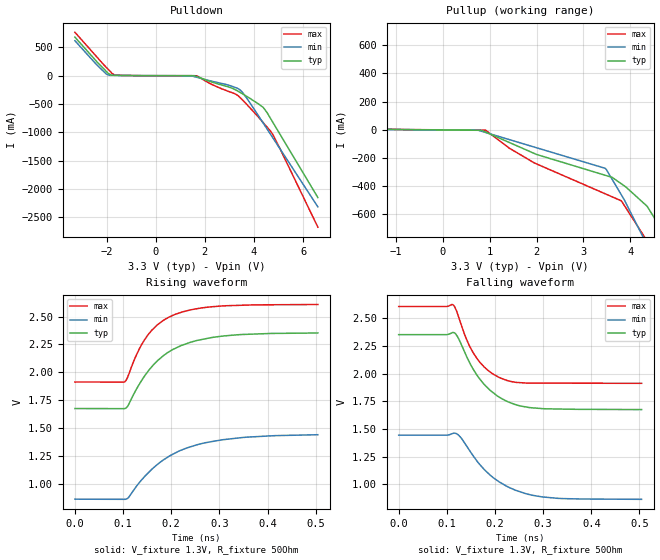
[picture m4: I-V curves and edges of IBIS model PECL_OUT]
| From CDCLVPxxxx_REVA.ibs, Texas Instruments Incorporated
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|   LVPECL Output Model   |
[Model]   PECL_OUT
Model_type   Output_ECL
| Signals   OUTP0, OUTN0, OUTP1, OUTN1
| variable   typ   min   max
C_comp   0.196pF   0.137pF   0.273pF
Cref = 0pF   |load capacitance for timing spec
Rref = 50   |50 to VCC-2
[Model Spec]
Vmeas   1.823V   0.820V   2.450V
| Vmeas is the expected cross point for each differential signal pair.
Vref   1.980V   0.995V   2.340V
| Junction Temperature (Ambient temp is 25C typ, 85C min, -40C max)
[Temperature Range]   40C   100C   -40C
[Voltage range]   3.3V   2.375V   3.6V
[Pulldown reference]   3.3V   2.375V   3.6V
[GND Clamp reference]   0V   0V   0V
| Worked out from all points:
|   falling waveform, V_fixture 1.3V, R_fixture 50Ohm: 20-80 % time 66.5ps typ, 81.5ps min, 51.9ps max; typ from 2.35 V to 1.68 V
|   rising waveform, V_fixture 1.3V, R_fixture 50Ohm: 20-80 % time 86.4ps typ, 107ps min, 67.1ps max; typ from 1.68 V to 2.35 V
[Pulldown]
|   Voltage   I(typ)   I(min)   I(max)
-3.29V    680.5mA    617.4mA    765.9mA
-2.014V   75.57mA    30.01mA    146.8mA
-1.797V   9.042mA    5.481mA    49.55mA
-1.665V   7.439mA    4.598mA    10.61mA
1.396V    -56.45uA   -1.547mA   -63.3uA
1.669V    -14.22mA   -27.83mA   -3.761mA
2.315V    -116.1mA   -100.9mA   -161.1mA
3.345V    -273.3mA   -227.3mA   -352.4mA
3.634V    -346.9mA   -354.3mA   -474.5mA
4.379V    -561.9mA   -839.1mA   -831.5mA
4.775V    -828.4mA   -1.103A    -1.045A
6.6V      -2.153A    -2.317A    -2.676A
[Pullup]
|   Voltage   I(typ)   I(min)   I(max)
-3.3V     685.3mA    622.3mA    772.9mA
-2.1V     109.2mA    60.42mA    185.3mA
-1.86V    18.27mA    5.885mA    74.55mA
-1.685V   6.169mA    4.178mA    13.24mA
908.6mV   -15.95mA   -19.03mA   -3.192mA
1.416V    -89.96mA   -69.53mA   -129.9mA
1.954V    -168.5mA   -123.1mA   -235.7mA
3.464V    -322.9mA   -273.6mA   -454.3mA
3.806V    -382.8mA   -460.3mA   -503.8mA
4.359V    -542.8mA   -818.5mA   -789.8mA
4.774V    -813.5mA   -1.092A    -1.006A
6.59V     -2.127A    -2.29A     -2.636A
[Ramp]
R_load = 50
|   typ   min   max
dV/dt_r   0.405827/8.59583e-011  0.346222/1.06509e-010   0.41634/6.71022e-011
dV/dt_f   0.406291/6.62935e-011  0.347719/8.14463e-011   0.4165/5.18702e-011
[Falling Waveform]
V_fixture = 1.3V
V_fixture_min = 0.375V
V_fixture_max = 1.6V
R_fixture = 50Ohm
C_fixture = 0F
|   Time   V(typ)   V(min)   V(max)
0s        2.354V     1.445V     2.608V
113ps     2.373V     1.462V     2.623V
119.4ps   2.353V     1.46V      2.576V
128.3ps   2.282V     1.428V     2.464V
145.3ps   2.119V     1.319V     2.267V
163.2ps   1.984V     1.208V     2.134V
192.7ps   1.841V     1.075V     2.007V
224.8ps   1.751V     983mV      1.94V
296.8ps   1.686V     888.3mV    1.916V
504.5ps   1.676V     865.9mV    1.914V
[Rising Waveform]
V_fixture = 1.3V
V_fixture_min = 0.375V
V_fixture_max = 1.6V
R_fixture = 50Ohm
C_fixture = 0F
|   Time   V(typ)   V(min)   V(max)
0s        1.676V     864.7mV    1.914V
103.5ps   1.676V     863.4mV    1.916V
110.6ps   1.705V     877.4mV    1.97V
132.6ps   1.886V     1.007V     2.2V
154.7ps   2.026V     1.111V     2.352V
183ps     2.147V     1.214V     2.464V
219.9ps   2.239V     1.302V     2.536V
253.4ps   2.285V     1.351V     2.57V
304.6ps   2.324V     1.396V     2.594V
504.5ps   2.353V     1.442V     2.608V
